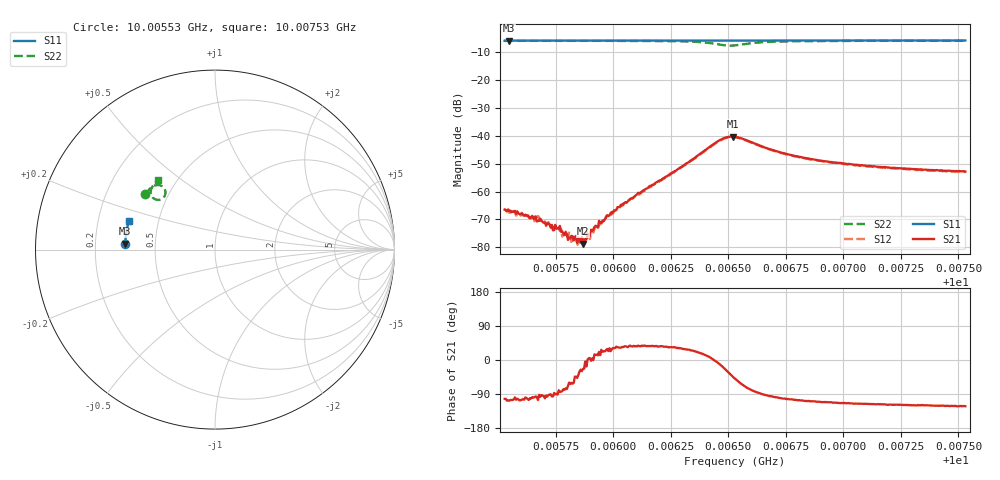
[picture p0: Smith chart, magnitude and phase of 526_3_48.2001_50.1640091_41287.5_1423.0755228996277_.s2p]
#  HZ  S  RI  R  50.00
! Rohde & Schwarz Vector Network Analyzer
! Rohde-Schwarz,ZNB20-2Port,1311601062101988,3.16
! Created: UTC 3/20/2024, 11:59:41 AM
! freq[Hz]  re:S11  im:S11  re:S21  im:S21  re:S12  im:S12  re:S22  im:S22
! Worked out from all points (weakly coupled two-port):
!   401 points, 10.00553 GHz to 10.00753 GHz, reference 50 ohm
!   highest |S21| = -40.31 dB at 10.00652 GHz (marker M1); lowest = -78.7 dB at 10.00587 GHz (marker M2)
!   lowest |S11| = -6.0 dB at 10.00555 GHz (marker M3), VSWR 3.01, Z = 16.6 + j1.43 ohm
!   |S11| at or under -10 dB: nowhere
!   |S22| runs from -7.8 to -6.0 dB; largest |S21 - S12| = 0.00065
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1.0005528e10  -0.5004 0.031  -0.000103 -0.000464  -0.000101 -0.000479  -0.3895 0.3079
1.0005548e10  -0.5002 0.0322  -0.000134 -0.000429  -5.02e-05 -0.000415  -0.3887 0.3091
1.0005683e10  -0.4999 0.0411  -4.01e-05 -0.000324  -3.28e-05 -0.000296  -0.3825 0.3172
1.0005733e10  -0.4996 0.0442  -2.75e-05 -0.000252  5.53e-05 -0.000237  -0.3802 0.3203
1.0005758e10  -0.4996 0.0459  -5.83e-06 -0.000221  2.15e-05 -0.00022  -0.3789 0.3219
1.0005808e10  -0.4993 0.0493  7.54e-05 -0.000129  9.96e-05 -0.000155  -0.3761 0.3249
1.0005848e10  -0.4993 0.0518  0.000115 -9.59e-05  8.14e-05 -6.69e-05  -0.3742 0.3276
1.0005863e10  -0.4992 0.0527  0.000135 -7.56e-05  0.000123 -2.6e-05  -0.3731 0.3285
1.0005868e10  -0.4992 0.0531  0.000107 -4.68e-05  0.000137 -4.17e-05  -0.373 0.3288
1.0005883e10  -0.499 0.0542  0.000132 -4.08e-05  0.000191 -1.79e-05  -0.3721 0.3297
1.0005909e10  -0.4989 0.0558  0.000198 1.55e-05  0.000188 4.88e-05  -0.3706 0.3313
1.0005914e10  -0.499 0.0561  0.000211 -1.61e-06  0.000183 3.11e-05  -0.3704 0.3316
1.0005969e10  -0.4985 0.0596  0.000319 0.000153  0.000291 0.000166  -0.367 0.3352
1.0006029e10  -0.4982 0.0636  0.000453 0.000289  0.000418 0.000314  -0.3628 0.3394
1.0006199e10  -0.497 0.0745  0.00127 0.000908  0.00117 0.000933  -0.3467 0.3519
1.0006454e10  -0.4941 0.0909  0.00786 -0.000953  0.00772 -0.000548  -0.2779 0.3315
1.0006519e10  -0.4933 0.0945  0.00696 -0.00669  0.0072 -0.00608  -0.2958 0.2827
1.0006529e10  -0.4933 0.095  0.00623 -0.00726  0.00647 -0.00674  -0.3038 0.2792
1.0006724e10  -0.4919 0.1076  -0.000895 -0.00497  -0.000625 -0.00492  -0.3578 0.3256
1.0006865e10  -0.4904 0.1164  -0.00124 -0.00359  -0.00105 -0.00357  -0.3517 0.346
1.00072e10  -0.4854 0.1376  -0.00124 -0.00237  -0.0011 -0.0024  -0.3333 0.372
1.000753e10  -0.4798 0.1583  -0.0012 -0.00194  -0.00107 -0.00196  -0.3159 0.39
